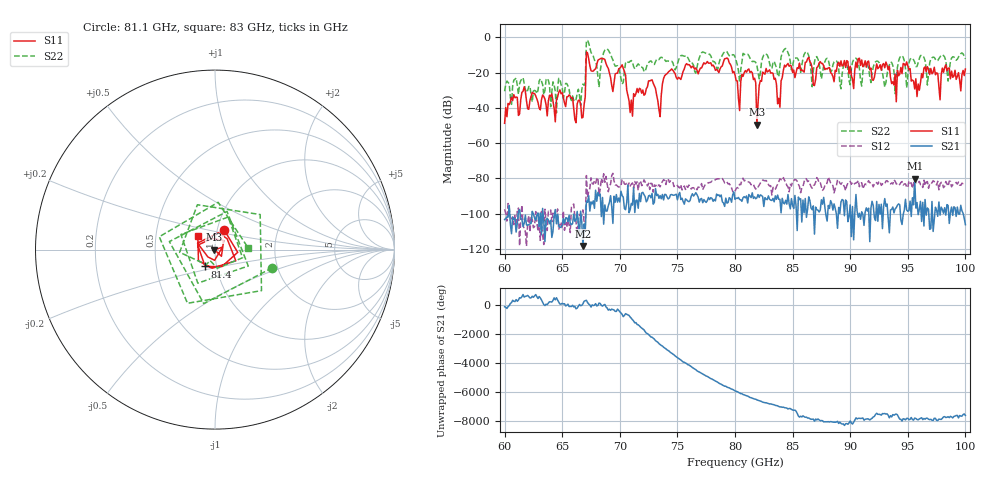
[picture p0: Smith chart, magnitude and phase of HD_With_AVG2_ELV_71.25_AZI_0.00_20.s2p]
! 11/25/2026 10:19:56 AM
! C:\ANRITSUVNA\TEMP\TEMP.S2P
! CHANNEL.1
! TR.MEASUREMENT
! RAW.DATA
# HZ S RI R 50.0
! FREQ.HZ  S11RE  S11IM  S21RE  S21IM  S12RE  S12IM  S22RE  S22IM
!; PortSelection: Port_12
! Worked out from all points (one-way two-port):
!   401 points, 60 GHz to 100 GHz, reference 50 ohm
!   highest |S21| = -80.14 dB at 95.6 GHz (marker M1); lowest = -118.3 dB at 66.8 GHz (marker M2)
!   lowest |S11| = -49.5 dB at 81.9 GHz (marker M3), VSWR 1.01, Z = 49.7 + j0.00762 ohm
!   |S11| at or under -10 dB: start of sweep to 67.09 GHz; 67.23 GHz to end of sweep
!   |S22| runs from -42.9 to -1.7 dB; largest |S21 - S12| = 0.00014
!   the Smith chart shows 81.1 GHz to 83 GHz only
!   S11 on the Smith chart (normalised r, x): 81.1 GHz: 1.08, +0.24; 81.4 GHz: 0.88, -0.17; 83 GHz: 0.82, +0.12
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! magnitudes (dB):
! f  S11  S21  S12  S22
! 60 GHz  -48.7  -103.3  -97.5  -30.5
! 61.6 GHz  -30.6  -107.2  -106.1  -22.8
! 66.7 GHz  -45.7  -104.7  -101.2  -29.5
! 66.8 GHz  -45.3  -118.3  -97.8  -26.5
! 67.3 GHz  -12.1  -89.8  -87.3  -3.2
! 68.4 GHz  -11.8  -101.6  -80.1  -14.7
! 70.3 GHz  -17.5  -90.6  -80.8  -25.5
! 70.9 GHz  -42.6  -97.7  -84.2  -13.5
! 72.7 GHz  -24.4  -91.0  -82.7  -13.3
! 73.4 GHz  -41.0  -91.3  -83.6  -12.6
! 74.4 GHz  -18.6  -89.3  -81.4  -13.4
! 80 GHz  -21.2  -91.9  -87.2  -11.1
! 81.1 GHz  -18.4  -93.9  -81.8  -9.5
! 81.4 GHz  -19.3  -90.9  -83.6  -13.0
! 81.9 GHz  -49.5  -91.0  -84.8  -15.9
! 83 GHz  -18.4  -91.8  -84.3  -14.6
! 83.8 GHz  -34.5  -91.8  -81.9  -22.3
! 84.4 GHz  -16.7  -92.4  -82.7  -6.2
! 86.7 GHz  -17.6  -97.7  -85.6  -28.0
! 93.4 GHz  -16.3  -110.9  -83.1  -15.6
! 95.6 GHz  -29.2  -80.1  -80.2  -13.9
! 100 GHz  -17.9  -106.2  -82.6  -12.1
